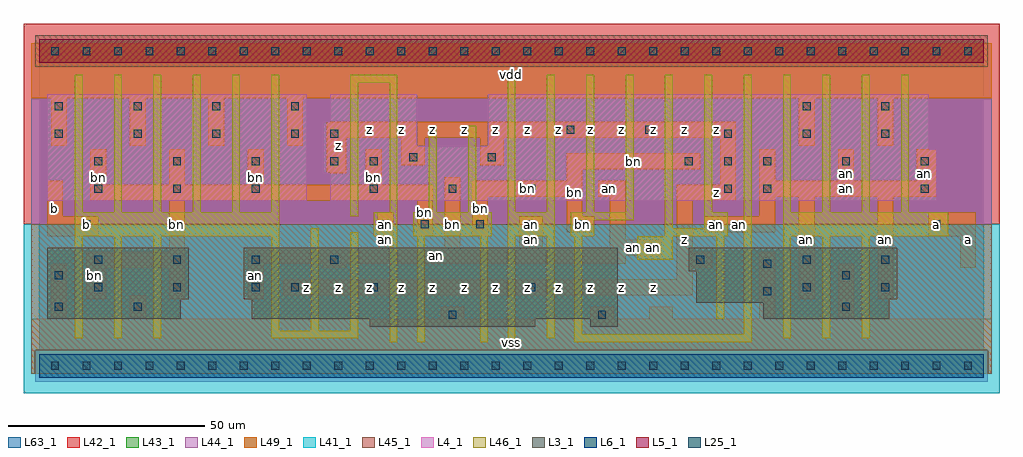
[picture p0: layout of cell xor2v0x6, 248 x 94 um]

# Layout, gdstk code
import gdstk
lib = gdstk.Library(unit=1e-6, precision=1e-09)
def R(c, l, rs):  # rectangles x0, y0, x1, y1
    for r in rs: c.add(gdstk.rectangle(r[:2], r[2:], *l))
def A(c, l, x, y, w, h, nx, ny, dx, dy):  # array of equal rectangles
    R(c, l, [(x+i*dx, y+j*dy, x+i*dx+w, y+j*dy+h) for i in range(nx) for j in range(ny)])
L3_1 = (3, 1)
L4_1 = (4, 1)
L5_1 = (5, 1)
L6_1 = (6, 1)
L25_1 = (25, 1)
L41_1 = (41, 1)
L42_1 = (42, 1)
L43_1 = (43, 1)
L44_1 = (44, 1)
L45_1 = (45, 1)
L46_1 = (46, 1)
L49_1 = (49, 1)
L63_1 = (63, 1)

xor2v0x6 = lib.new_cell('xor2v0x6')
R(xor2v0x6, L3_1, [(84,10,126,12), (140,10,147,12), (2,12,36,17), (54,12,147,17), (184,12,216,16), (167,16,216,17), (2,17,38,30), (52,17,147,30), (167,17,218,24), (165,24,218,30)])
R(xor2v0x6, L4_1, [(2,42,68,69), (74,42,228,49), (72,49,228,55), (72,55,226,56), (72,56,96,62), (114,56,226,69), (74,62,96,69)])
R(xor2v0x6, L5_1, [(0,77,240,83)])
R(xor2v0x6, L6_1, [(0,-3,240,3), (0,-3,240,3)])
A(xor2v0x6, L25_1, 3, -1, 2, 2, 30, 2, 8, 80)
A(xor2v0x6, L25_1, 14, 19, 2, 2, 3, 2, 20, 25)
A(xor2v0x6, L25_1, 14, 26, 2, 2, 4, 2, 20, 25)
A(xor2v0x6, L25_1, 111, 35, 2, 2, 3, 1, 13, 0)
A(xor2v0x6, L25_1, 84, 44, 2, 2, 4, 1, 20, 0)
A(xor2v0x6, L25_1, 184, 44, 2, 2, 3, 1, 20, 0)
A(xor2v0x6, L25_1, 164, 51, 2, 2, 3, 1, 10, 0)
A(xor2v0x6, L25_1, 4, 58, 2, 2, 4, 2, 20, 7)
A(xor2v0x6, L25_1, 174, 58, 2, 2, 3, 1, 20, 0)
R(xor2v0x6, L25_1, [(104,12,106,14), (142,12,144,14), (4,14,6,16), (24,14,26,16), (204,14,206,16), (184,18,186,20), (64,19,66,21), (84,19,86,21), (124,19,126,21), (194,19,196,21), (214,19,216,21), (4,22,6,24), (204,22,206,24), (184,25,186,27), (167,26,169,28), (194,26,196,28), (214,26,216,28), (154,29,156,31), (11,35,13,37), (87,35,89,37), (97,35,99,37), (171,35,173,37), (227,35,229,37), (174,44,176,46), (84,51,86,53), (204,51,206,53), (224,51,226,53), (94,52,96,54), (114,52,116,54), (74,58,76,60), (134,59,136,61), (154,59,156,61), (194,65,196,67), (214,65,216,67)])
R(xor2v0x6, L41_1, [(-4,-7,244,36)])
R(xor2v0x6, L42_1, [(-4,36,244,87)])
R(xor2v0x6, L43_1, [(0,-3,240,3), (84,10,126,12), (140,10,147,12), (2,12,36,17), (54,12,147,17), (184,12,216,16), (167,16,216,17), (2,17,38,30), (52,17,147,30), (167,17,218,24), (165,24,218,30), (2,42,68,69), (74,42,228,49), (72,49,228,55), (72,55,226,56), (72,56,96,62), (114,56,226,69), (74,62,96,69), (0,77,240,83)])
R(xor2v0x6, L44_1, [(-1,-4,241,4), (-2,36,242,76), (-2,76,-1,82), (241,76,242,82)])
R(xor2v0x6, L45_1, [(-2,-2,-1,4), (241,-2,242,4), (-2,4,242,36), (-1,76,241,84)])
A(xor2v0x6, L46_1, 9, 7, 2, 26, 3, 1, 10, 0)
A(xor2v0x6, L46_1, 189, 7, 2, 26, 3, 1, 10, 0)
A(xor2v0x6, L46_1, 9, 39, 2, 35, 6, 1, 10, 0)
A(xor2v0x6, L46_1, 119, 39, 2, 35, 4, 1, 10, 0)
A(xor2v0x6, L46_1, 189, 39, 2, 35, 4, 1, 10, 0)
R(xor2v0x6, L46_1, [(89,6,91,33), (96,6,98,33), (112,6,114,33), (119,6,121,33), (136,6,181,8), (59,7,81,9), (129,7,131,33), (136,8,138,33), (179,8,181,74), (59,9,61,33), (69,9,71,35), (79,9,81,34), (172,12,174,33), (152,27,161,33), (9,33,61,39), (85,33,91,39), (95,33,115,39), (119,33,131,39), (135,33,141,37), (159,33,175,35), (189,33,231,39), (159,35,161,74), (169,35,175,39), (135,37,151,39), (79,38,81,72), (89,39,91,72), (99,39,101,61), (109,39,111,61), (169,39,171,74), (79,72,91,74)])
A(xor2v0x6, L49_1, 13, 46, 4, 9, 3, 1, 20, 0)
A(xor2v0x6, L49_1, 3, 56, 4, 12, 4, 1, 20, 0)
R(xor2v0x6, L49_1, [(-2,-2,242,12), (3,12,7,26), (23,12,27,18), (102,12,108,15), (140,12,146,15), (155,12,161,15), (183,12,187,29), (203,12,207,26), (12,17,17,25), (33,17,37,25), (53,17,57,26), (193,17,197,43), (213,17,217,43), (62,18,166,22), (162,22,166,25), (12,25,37,29), (72,25,78,26), (162,25,171,29), (234,25,238,33), (53,26,149,28), (53,28,158,30), (33,29,37,42), (162,29,166,42), (86,30,90,39), (103,30,107,48), (122,30,128,38), (145,30,158,32), (145,32,149,43), (2,33,15,38), (96,33,100,42), (110,33,114,43), (226,33,238,39), (134,34,141,38), (169,34,187,38), (2,38,6,47), (134,38,138,43), (183,38,187,43), (13,42,100,46), (162,42,177,46), (110,43,138,47), (142,43,149,47), (183,43,228,47), (83,46,87,55), (173,46,177,58), (134,47,138,50), (183,47,187,55), (203,47,207,55), (223,47,228,55), (73,49,78,58), (134,50,168,54), (92,51,98,58), (112,51,118,58), (193,56,197,68), (213,56,217,68), (73,58,177,62), (-2,68,242,82)])
R(xor2v0x6, L63_1, [(0,0,240,80)])
xor2v0x6.add(gdstk.Label('an', (88,36), layer=49, texttype=1))
xor2v0x6.add(gdstk.Label('bn', (105,36), layer=46, texttype=1))
xor2v0x6.add(gdstk.Label('an', (125,36), layer=49, texttype=1))
xor2v0x6.add(gdstk.Label('bn', (138,36), layer=49, texttype=1))
xor2v0x6.add(gdstk.Label('an', (156,30), layer=49, texttype=1))
xor2v0x6.add(gdstk.Label('an', (172,36), layer=49, texttype=1))
xor2v0x6.add(gdstk.Label('bn', (14,23), layer=49, texttype=1))
xor2v0x6.add(gdstk.Label('b', (12,36), layer=49, texttype=1))
xor2v0x6.add(gdstk.Label('b', (4,40), layer=49, texttype=1))
xor2v0x6.add(gdstk.Label('bn', (35,36), layer=49, texttype=1))
xor2v0x6.add(gdstk.Label('bn', (15,48), layer=49, texttype=1))
xor2v0x6.add(gdstk.Label('z', (76,20), layer=49, texttype=1))
xor2v0x6.add(gdstk.Label('z', (68,20), layer=49, texttype=1))
xor2v0x6.add(gdstk.Label('an', (55,23), layer=49, texttype=1))
xor2v0x6.add(gdstk.Label('z', (76,56), layer=49, texttype=1))
xor2v0x6.add(gdstk.Label('bn', (55,48), layer=49, texttype=1))
xor2v0x6.add(gdstk.Label('z', (100,20), layer=49, texttype=1))
xor2v0x6.add(gdstk.Label('z', (108,20), layer=49, texttype=1))
xor2v0x6.add(gdstk.Label('z', (116,20), layer=49, texttype=1))
xor2v0x6.add(gdstk.Label('z', (92,20), layer=49, texttype=1))
xor2v0x6.add(gdstk.Label('z', (84,20), layer=49, texttype=1))
xor2v0x6.add(gdstk.Label('an', (88,32), layer=49, texttype=1))
xor2v0x6.add(gdstk.Label('bn', (98,39), layer=49, texttype=1))
xor2v0x6.add(gdstk.Label('bn', (112,40), layer=49, texttype=1))
xor2v0x6.add(gdstk.Label('an', (105,37), layer=49, texttype=1))
xor2v0x6.add(gdstk.Label('bn', (85,48), layer=49, texttype=1))
xor2v0x6.add(gdstk.Label('z', (116,60), layer=49, texttype=1))
xor2v0x6.add(gdstk.Label('z', (108,60), layer=49, texttype=1))
xor2v0x6.add(gdstk.Label('z', (100,60), layer=49, texttype=1))
xor2v0x6.add(gdstk.Label('z', (92,60), layer=49, texttype=1))
xor2v0x6.add(gdstk.Label('z', (84,60), layer=49, texttype=1))
xor2v0x6.add(gdstk.Label('vss', (120,6), layer=49, texttype=1))
xor2v0x6.add(gdstk.Label('z', (124,20), layer=49, texttype=1))
xor2v0x6.add(gdstk.Label('z', (156,20), layer=49, texttype=1))
xor2v0x6.add(gdstk.Label('z', (148,20), layer=49, texttype=1))
xor2v0x6.add(gdstk.Label('z', (132,20), layer=49, texttype=1))
xor2v0x6.add(gdstk.Label('z', (140,20), layer=49, texttype=1))
xor2v0x6.add(gdstk.Label('an', (151,30), layer=49, texttype=1))
xor2v0x6.add(gdstk.Label('an', (125,32), layer=49, texttype=1))
xor2v0x6.add(gdstk.Label('an', (101,28), layer=49, texttype=1))
xor2v0x6.add(gdstk.Label('bn', (136,44), layer=49, texttype=1))
xor2v0x6.add(gdstk.Label('bn', (124,45), layer=49, texttype=1))
xor2v0x6.add(gdstk.Label('an', (145,45), layer=49, texttype=1))
xor2v0x6.add(gdstk.Label('z', (124,60), layer=49, texttype=1))
xor2v0x6.add(gdstk.Label('z', (156,60), layer=49, texttype=1))
xor2v0x6.add(gdstk.Label('z', (148,60), layer=49, texttype=1))
xor2v0x6.add(gdstk.Label('z', (140,60), layer=49, texttype=1))
xor2v0x6.add(gdstk.Label('z', (132,60), layer=49, texttype=1))
xor2v0x6.add(gdstk.Label('vdd', (120,74), layer=49, texttype=1))
xor2v0x6.add(gdstk.Label('z', (164,32), layer=49, texttype=1))
xor2v0x6.add(gdstk.Label('an', (178,36), layer=49, texttype=1))
xor2v0x6.add(gdstk.Label('z', (172,44), layer=49, texttype=1))
xor2v0x6.add(gdstk.Label('an', (195,32), layer=49, texttype=1))
xor2v0x6.add(gdstk.Label('bn', (151,52), layer=49, texttype=1))
xor2v0x6.add(gdstk.Label('z', (164,60), layer=49, texttype=1))
xor2v0x6.add(gdstk.Label('z', (172,60), layer=49, texttype=1))
xor2v0x6.add(gdstk.Label('a', (228,36), layer=49, texttype=1))
xor2v0x6.add(gdstk.Label('a', (236,32), layer=49, texttype=1))
xor2v0x6.add(gdstk.Label('an', (215,32), layer=49, texttype=1))
xor2v0x6.add(gdstk.Label('an', (205,45), layer=49, texttype=1))
xor2v0x6.add(gdstk.Label('an', (225,49), layer=49, texttype=1))
xor2v0x6.add(gdstk.Label('an', (205,49), layer=49, texttype=1))

lib.write_gds('xor2v0x6.gds')
